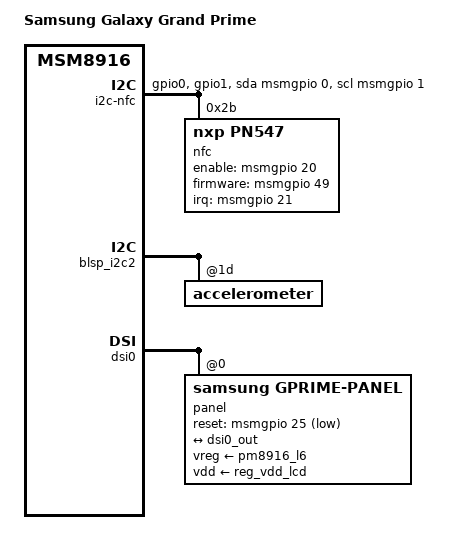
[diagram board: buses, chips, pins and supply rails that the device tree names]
// SPDX-License-Identifier: GPL-2.0-only

/dts-v1/;

#include "msm8916-samsung-gprime-common.dtsi"

/*
 * NOTE: The original firmware from Samsung can only boot ARM32 kernels on some
 * variants.
 * Unfortunately, the firmware is signed and cannot be replaced easily.
 * There seems to be no way to boot ARM64 kernels on 32-bit devices at the
 * moment, even though the hardware would support it.
 *
 * However, it is possible to use this device tree by compiling an ARM32 kernel
 * instead. For clarity and build testing this device tree is maintained next
 * to the other MSM8916 device trees. However, it is actually used through
 *   arch/arm/boot/dts/qcom-msm8916-samsung-gprime.dts
*/

/ {
	model = "Samsung Galaxy Grand Prime";
	compatible = "samsung,gprime", "qcom,msm8916";
	chassis-type = "handset";

	i2c-nfc {
		compatible = "i2c-gpio";
		sda-gpios = <&msmgpio 0 (GPIO_ACTIVE_HIGH|GPIO_OPEN_DRAIN)>;
		scl-gpios = <&msmgpio 1 (GPIO_ACTIVE_HIGH|GPIO_OPEN_DRAIN)>;

		pinctrl-names = "default";
		pinctrl-0 = <&nfc_i2c_default>;

		#address-cells = <1>;
		#size-cells = <0>;

		nfc@2b {
			compatible = "nxp,pn547", "nxp,nxp-nci-i2c";
			reg = <0x2b>;

			interrupt-parent = <&msmgpio>;
			interrupts = <21 IRQ_TYPE_EDGE_RISING>;

			enable-gpios = <&msmgpio 20 GPIO_ACTIVE_HIGH>;
			firmware-gpios = <&msmgpio 49 GPIO_ACTIVE_HIGH>;

			pinctrl-names = "default";
			pinctrl-0 = <&nfc_default>;
		};
	};
};

&blsp_i2c2 {
	accelerometer@1d {
		mount-matrix = "1", "0", "0",
			      "0", "-1", "0",
			       "0", "0", "1";
	};
};

&dsi0 {
	panel@0 {
		compatible = "samsung,gprime-panel";
		reg = <0>;
		vreg-supply = <&pm8916_l6>;
		vdd-supply = <&reg_vdd_lcd>;
		reset-gpios = <&msmgpio 25 GPIO_ACTIVE_LOW>;

		port {
			panel_in: endpoint {
				remote-endpoint = <&dsi0_out>;
			};
		};
	};
};

&dsi0_out {
	data-lanes = <0 1>;
	remote-endpoint = <&panel_in>;
};

&msmgpio {
	nfc_default: nfc-default {
		pins = "gpio20", "gpio49";
		function = "gpio";

		drive-strength = <2>;
		bias-disable;

		irq {
			pins = "gpio21";
			function = "gpio";

			drive-strength = <2>;
			bias-pull-down;
		};
	};

	nfc_i2c_default: nfc-i2c-default {
		pins = "gpio0", "gpio1";
		function = "gpio";

		drive-strength = <2>;
		bias-disable;
	};
};
